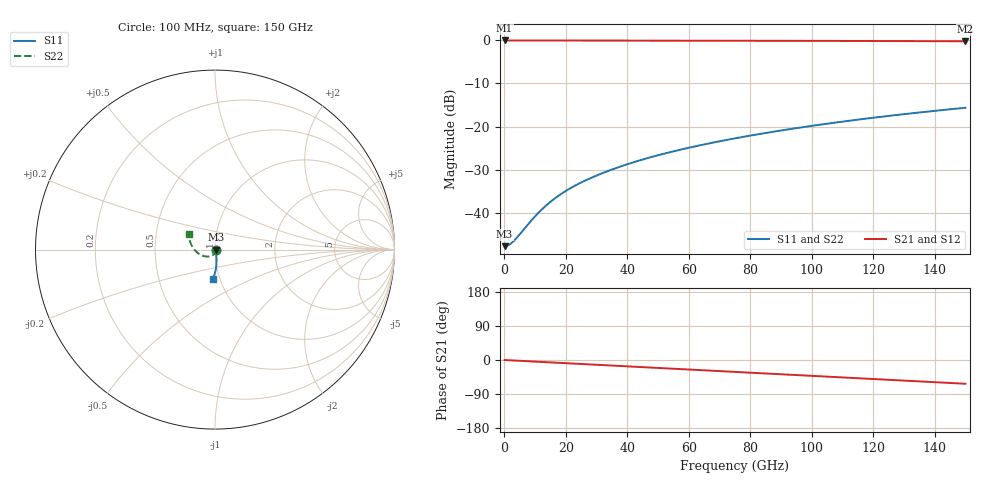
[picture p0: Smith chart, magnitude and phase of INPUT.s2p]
#  Hz  S  RI  R  50
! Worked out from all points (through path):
!   1500 points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, 100 MHz to 150 GHz, reference 50 ohm
!   highest |S21| = -0.04 dB at 100 MHz (marker M1); lowest = -0.2 dB at 150 GHz (marker M2)
!   group delay of S21, straight-line fit = 1.16 ps
!   lowest |S11| = -47.7 dB at 100 MHz (marker M3), VSWR 1.01, Z = 50.4 - j0.00639 ohm
!   |S11| at or under -10 dB: start of sweep to end of sweep
!   |S22| runs from -47.6 to -15.4 dB; largest |S21 - S12| = 0.0034
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1e8  0.00413 -6.34e-05  0.9959 -0.000751  0.9959 -0.000752  0.00417 -7.54e-05
1.5e9  0.00417 -0.000954  0.9958 -0.0113  0.9958 -0.0113  0.00417 -0.00113
3e9  0.0043 -0.00193  0.9955 -0.0225  0.9955 -0.0225  0.00418 -0.00229
4.4e9  0.00448 -0.00288  0.995 -0.0329  0.995 -0.033  0.00418 -0.00339
7.9e9  0.00513 -0.00551  0.9932 -0.0587  0.9932 -0.0588  0.00409 -0.00633
1.01e10  0.00557 -0.00735  0.9917 -0.0747  0.9917 -0.0747  0.00389 -0.00831
1.24e10  0.00601 -0.0094  0.9899 -0.0913  0.9899 -0.0912  0.00351 -0.0105
1.47e10  0.00636 -0.0116  0.988 -0.1077  0.988 -0.1077  0.00291 -0.0127
1.7e10  0.00664 -0.0138  0.9858 -0.1241  0.9859 -0.124  0.00208 -0.0149
1.95e10  0.00686 -0.0162  0.9833 -0.1419  0.9833 -0.1418  0.000921 -0.0173
2.51e10  0.00719 -0.0215  0.9764 -0.1817  0.9765 -0.1817  -0.00249 -0.0222
3.03e10  0.00748 -0.0264  0.9685 -0.2184  0.9686 -0.2184  -0.00645 -0.0263
3.65e10  0.00787 -0.0323  0.9572 -0.2617  0.9573 -0.2617  -0.012 -0.0305
4.3e10  0.0082 -0.0388  0.9433 -0.3065  0.9436 -0.3065  -0.0188 -0.0342
5.01e10  0.00844 -0.046  0.9257 -0.3546  0.9261 -0.3547  -0.0273 -0.0371
6.19e10  0.00867 -0.0583  0.8909 -0.4324  0.8914 -0.4325  -0.0433 -0.0389
7.51e10  0.00841 -0.0728  0.8441 -0.5152  0.8448 -0.5155  -0.0631 -0.036
8.72e10  0.00756 -0.0866  0.7941 -0.5867  0.795 -0.5872  -0.0818 -0.0283
1.001e11  0.00577 -0.1021  0.734 -0.6574  0.7351 -0.6583  -0.1012 -0.0147
1.251e11  -0.000888 -0.1333  0.5997 -0.7758  0.601 -0.7777  -0.132 0.027
1.376e11  -0.00604 -0.1492  0.5249 -0.8247  0.5265 -0.8271  -0.1417 0.0545
1.5e11  -0.0127 -0.1649  0.4473 -0.8657  0.4483 -0.869  -0.1461 0.0848
